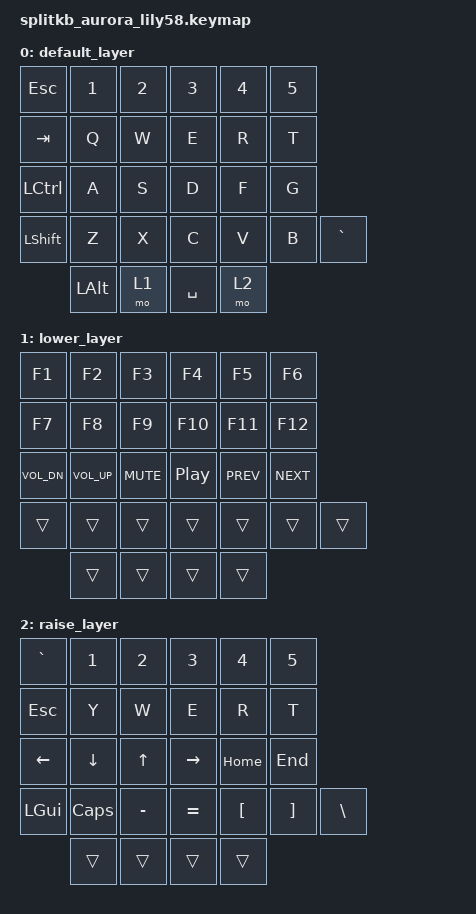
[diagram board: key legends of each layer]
/*
 * Copyright (c) 2024 ZMK Contributors
 *
 * SPDX-License-Identifier: MIT
 *
 * splitkb_aurora_lily58 — QWERTZ Gaming Layout (left half only)
 * ==============================================================
 * Designed for a gamer new to split keyboards.
 * Uses only the left half to start.
 *
 * IMPORTANT QWERTZ NOTE:
 * On German QWERTZ, Z and Y are physically swapped vs QWERTY.
 * In ZMK HID codes: &kp Z = physical Z position → QWERTZ outputs 'Y'
 *                   &kp Y = physical Y position → QWERTZ outputs 'Z'
 *
 * Aurora Lily58 left matrix: 6 + 6 + 6 + 7 + 4 = 29 keys
 *   Row 0: SW6  SW5  SW4  SW3  SW2  SW1
 *   Row 1: SW12 SW11 SW10 SW9  SW8  SW7
 *   Row 2: SW18 SW17 SW16 SW15 SW14 SW13
 *   Row 3: SW24 SW23 SW22 SW21 SW20 SW19 SW25  ← SW25 is inner column
 *   Row 4:                SW29 SW28 SW27 SW26   ← thumbs
 *
 * Default Layer: Standard QWERTZ left half — for typing/learning
 * Lower  Layer: Gaming F-keys (F1-F12) + media controls
 * Raise  Layer: Gaming extras (Z key, arrows, symbols)
 *
 * Thumb keys (default): LALT | LOWER | SPACE | RAISE
 */

#include <behaviors.dtsi>
#include <dt-bindings/zmk/keys.h>

/ {
    keymap {
        compatible = "zmk,keymap";

        /* ===================================================================
         * DEFAULT LAYER — Standard QWERTZ (left half)
         * ┌──────┬─────┬─────┬─────┬─────┬─────┬──────┐
         * │ ESC  │  1  │  2  │  3  │  4  │  5  │      │
         * ├──────┼─────┼─────┼─────┼─────┼─────┤      │
         * │ TAB  │  Q  │  W  │  E  │  R  │  T  │      │
         * ├──────┼─────┼─────┼─────┼─────┼─────┤      │
         * │LCTRL │  A  │  S  │  D  │  F  │  G  │      │
         * ├──────┼─────┼─────┼─────┼─────┼─────┼──────┤
         * │LSHFT │  Y  │  X  │  C  │  V  │  B  │  `   │ ← Y=&kp Z, ` = GRAVE
         * └──────┴─────┴─────┴─────┴─────┴─────┴──────┘
         *             ┌──────┬──────┬──────┬──────┐
         *             │ LALT │LOWER │ SPACE│ RAISE│
         *             └──────┴──────┴──────┴──────┘
         *
         * Hold LOWER → gaming function keys
         * Hold RAISE → Z key, arrows, symbols
         * =================================================================== */
        default_layer {
            bindings = <
                &kp ESC   &kp N1   &kp N2   &kp N3   &kp N4   &kp N5
                &kp TAB   &kp Q    &kp W    &kp E    &kp R    &kp T
                &kp LCTRL &kp A    &kp S    &kp D    &kp F    &kp G
                &kp LSHFT &kp Z    &kp X    &kp C    &kp V    &kp B    &kp GRAVE
                              &kp LALT &mo 1   &kp SPACE &mo 2
            >;
        };

        /* ===================================================================
         * LOWER LAYER — Gaming F-Keys & Media Controls
         * Hold LOWER to access.
         * ┌──────┬─────┬─────┬─────┬─────┬─────┬──────┐
         * │  F1  │ F2  │ F3  │ F4  │ F5  │ F6  │      │
         * ├──────┼─────┼─────┼─────┼─────┼─────┤      │
         * │  F7  │ F8  │ F9  │ F10 │ F11 │ F12 │      │
         * ├──────┼─────┼─────┼─────┼─────┼─────┤      │
         * │ VOL- │ VOL+│ MUTE│PLAY │ PREV│ NEXT│      │
         * ├──────┼─────┼─────┼─────┼─────┼─────┼──────┤
         * │trans │trans│trans│trans│trans│trans│ trans│ ← all pass through
         * └──────┴─────┴─────┴─────┴─────┴─────┴──────┘
         *             ┌──────┬──────┬──────┬──────┐
         *             │trans │ trans│ trans│ trans│
         *             └──────┴──────┴──────┴──────┘
         * =================================================================== */
        lower_layer {
            bindings = <
                &kp F1     &kp F2     &kp F3     &kp F4     &kp F5     &kp F6
                &kp F7     &kp F8     &kp F9     &kp F10    &kp F11    &kp F12
                &kp C_VOL_DN  &kp C_VOL_UP  &kp C_MUTE  &kp C_PP  &kp C_PREV  &kp C_NEXT
                &trans     &trans     &trans     &trans     &trans     &trans     &trans
                              &trans     &trans     &trans     &trans
            >;
        };

        /* ===================================================================
         * RAISE LAYER — Gaming Extras (Z, Arrows, Symbols)
         * Hold RAISE to access.
         * ┌──────┬─────┬─────┬─────┬─────┬─────┬──────┐
         * │  `   │  1  │  2  │  3  │  4  │  5  │      │
         * ├──────┼─────┼─────┼─────┼─────┼─────┤      │
         * │ ESC  │  Z  │  W  │  E  │  R  │  T  │      │ ← Z = &kp Y
         * ├──────┼─────┼─────┼─────┼─────┼─────┤      │
         * │ LEFT │DOWN │ UP  │RIGHT│HOME │ END │      │
         * ├──────┼─────┼─────┼─────┼─────┼─────┼──────┤
         * │ LGUI │CAPS │  -  │  =  │  [  │  ]  │  \   │ ← Win key + symbols + backslash
         * └──────┴─────┴─────┴─────┴─────┴─────┴──────┘
         *             ┌──────┬──────┬──────┬──────┐
         *             │trans │ trans│ trans│ trans│
         *             └──────┴──────┴──────┴──────┘
         * =================================================================== */
        raise_layer {
            bindings = <
                &kp GRAVE  &kp N1    &kp N2    &kp N3    &kp N4    &kp N5
                &kp ESC    &kp Y     &kp W     &kp E     &kp R     &kp T
                &kp LEFT   &kp DOWN  &kp UP    &kp RIGHT &kp HOME  &kp END
                &kp LGUI   &kp CAPS  &kp MINUS &kp EQUAL &kp LBKT  &kp RBKT  &kp BSLH
                              &trans   &trans    &trans    &trans
            >;
        };
    };
};
